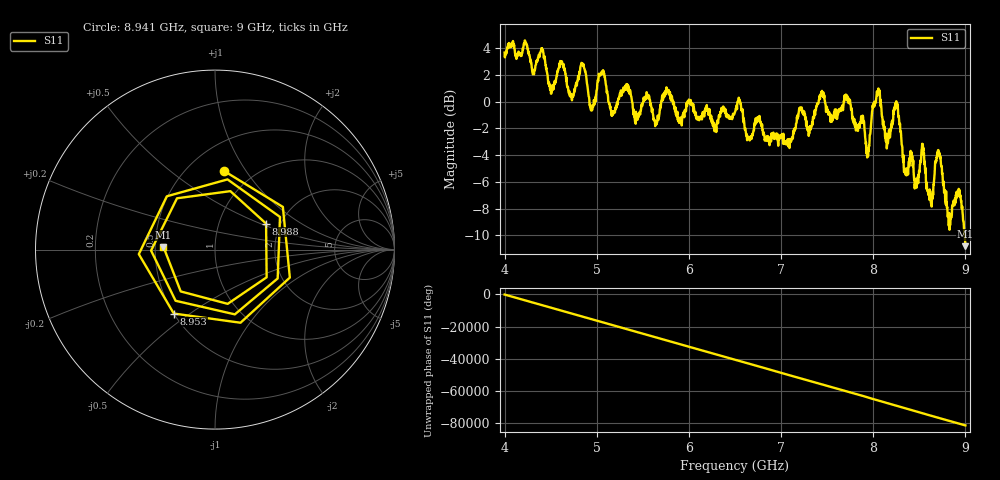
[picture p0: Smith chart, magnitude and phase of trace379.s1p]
! Created with skrf 1.8.0 (http://scikit-rf.org).
# Hz S RI R 50.0
!freq ReS11 ImS11
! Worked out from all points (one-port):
!   1601 points, 4 GHz to 9 GHz, reference 50 ohm
!   lowest |S11| = -10.8 dB at 9 GHz (marker M1), VSWR 1.81, Z = 27.7 + j0.925 ohm
!   |S11| at or under -10 dB: 8.992904 GHz to end of sweep
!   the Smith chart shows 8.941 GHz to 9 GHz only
!   S11 on the Smith chart (normalised r, x): 8.941 GHz: 0.74, +0.80; 8.953 GHz: 0.50, -0.43; 8.988 GHz: 1.68, +0.54; 9 GHz: 0.55, +0.02
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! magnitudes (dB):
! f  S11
! 4 GHz  3.7
! 4.409 GHz  3.9
! 4.509 GHz  0.7
! 4.625 GHz  2.9
! 4.722 GHz  0.4
! 4.844 GHz  2.8
! 4.941 GHz  -0.7
! 5.047 GHz  2.2
! 5.169 GHz  -1.0
! 5.25 GHz  0.5
! 5.875 GHz  -0.8
! 6.5 GHz  -0.7
! 7.125 GHz  -2.8
! 7.444 GHz  0.8
! 7.75 GHz  0.0
! 7.938 GHz  -3.9
! 8.047 GHz  0.7
! 8.153 GHz  -3.0
! 8.25 GHz  0.0
! 8.375 GHz  -5.1
! 8.538 GHz  -3.2
! 8.625 GHz  -7.5
! 8.706 GHz  -3.6
! 8.825 GHz  -8.3
! 8.941 GHz  -7.1
! 8.953 GHz  -7.5
! 8.988 GHz  -9.9
! 9 GHz  -10.8
